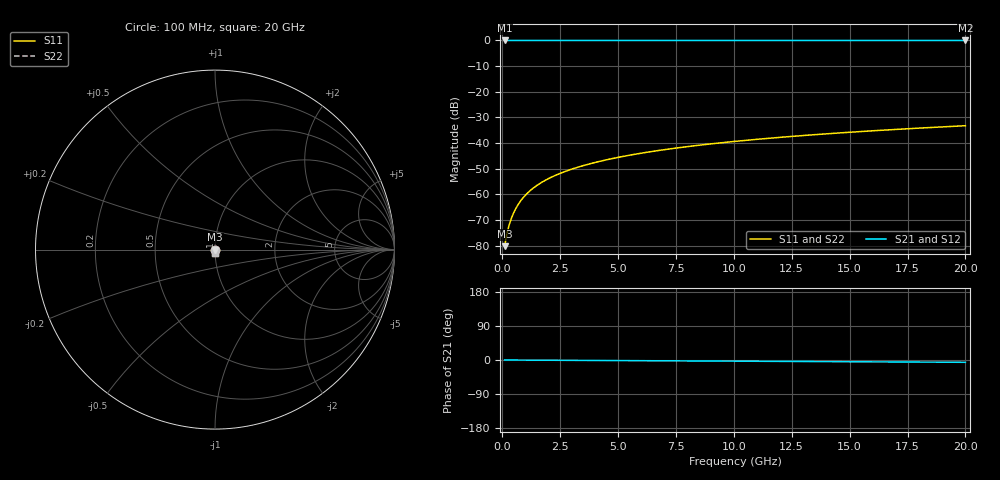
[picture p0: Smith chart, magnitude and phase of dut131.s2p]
! Touchstone file exported from HFSS 2026.1.0
!  File:  C:/ffzhzh/LocalFiles/Ansys_Project_Files/temp_train_TSV_131_1782990176_45328.aedt
!  Generated:  07:04:05 PM Jul  2, 2026
!  Design:  TSV
!  Project:  temp_train_TSV_131_1782990176_45328
! Variables:
!  h_bsmrdl = 2um
!  h_ox = 20um
!  h_rdl = 5um
!  h_sub = 57.06um
!  h_tmrdl = 5um
!  h_tsv = 57.06um
!  h_via = 3um
!  l_bsmrdl = 300um
!  l_sub = 429.62um
!  l_tmrdl = 200um
!  m_sub = 200um
!  pitch = 48.56um
!  r_tsv = 14.81um
!  s_tmrdl = 10um
!  w_bsmrdl = 18um
!  w_sub = 500um
!  w_tmrdl = 12um
!  x_tsv_center1 = 206um
!  x_tsv_center2 = 524um
!  x_tsv_center3 = 736um
!  x_tsv_center4 = 1054um
!  x_tsv_center5 = 1266um
!  x_tsv_center6 = 1584um
# GHz S MA R 50.000000
! Terminal data exported
! Port[1] = TSV1_1_T1
! Port[2] = TSV1_1_T2
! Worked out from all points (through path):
!   200 points, 100 MHz to 20 GHz, reference 50 ohm
!   highest |S21| = 0.00 dB at 100 MHz (marker M1); lowest = 0.0 dB at 20 GHz (marker M2)
!   lowest |S11| = -80.2 dB at 100 MHz (marker M3), VSWR 1.00, Z = 50 - j0.00774 ohm
!   |S11| at or under -10 dB: start of sweep to end of sweep
!   |S22| runs from -80.2 to -33.2 dB; largest |S21 - S12| = 1.1e-15
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0.1  9.758e-05 -52.5  0.9999 -0.0  0.9999 -0.0  9.758e-05 -52.5
! Gamma 0 0 0 0
! Port Impedance 50 0 50 0
0.2  0.0001724 -66.2  0.9999 -0.1  0.9999 -0.1  0.0001724 -66.2
0.3  0.000257 -70.8  0.9999 -0.1  0.9999 -0.1  0.000257 -70.8
0.4  0.0003482 -73.1  0.9999 -0.1  0.9999 -0.1  0.0003482 -73.1
0.5  0.0004446 -74.5  0.9999 -0.2  0.9999 -0.2  0.0004446 -74.5
0.7  0.0006475 -76.6  0.9998 -0.2  0.9998 -0.2  0.0006475 -76.6
0.8  0.000752 -77.5  0.9998 -0.3  0.9998 -0.3  0.000752 -77.5
1  0.0009638 -79.0  0.9998 -0.3  0.9998 -0.3  0.0009638 -79.0
1.2  0.001177 -80.2  0.9998 -0.4  0.9998 -0.4  0.001177 -80.2
1.4  0.001391 -81.2  0.9998 -0.4  0.9998 -0.4  0.001391 -81.2
1.7  0.001711 -82.5  0.9998 -0.5  0.9998 -0.5  0.001711 -82.5
2  0.002031 -83.4  0.9997 -0.6  0.9997 -0.6  0.002031 -83.4
2.7  0.002778 -84.9  0.9997 -0.8  0.9997 -0.8  0.002778 -84.9
3.5  0.003635 -86.0  0.9997 -1.1  0.9997 -1.1  0.003635 -86.0
4.2  0.004388 -86.7  0.9996 -1.3  0.9996 -1.3  0.004388 -86.7
5  0.005253 -87.3  0.9996 -1.5  0.9996 -1.5  0.005253 -87.3
6.8  0.007213 -88.5  0.9995 -2.1  0.9995 -2.1  0.007213 -88.5
8.3  0.008856 -89.3  0.9995 -2.5  0.9995 -2.5  0.008856 -89.3
10.1  0.01083 -90.1  0.9994 -3.1  0.9994 -3.1  0.01083 -90.1
13.4  0.01447 -91.6  0.9993 -4.1  0.9993 -4.1  0.01447 -91.6
16.7  0.01811 -92.8  0.9991 -5.1  0.9991 -5.1  0.01811 -92.8
20  0.02176 -94.0  0.999 -6.1  0.999 -6.1  0.02176 -94.0
